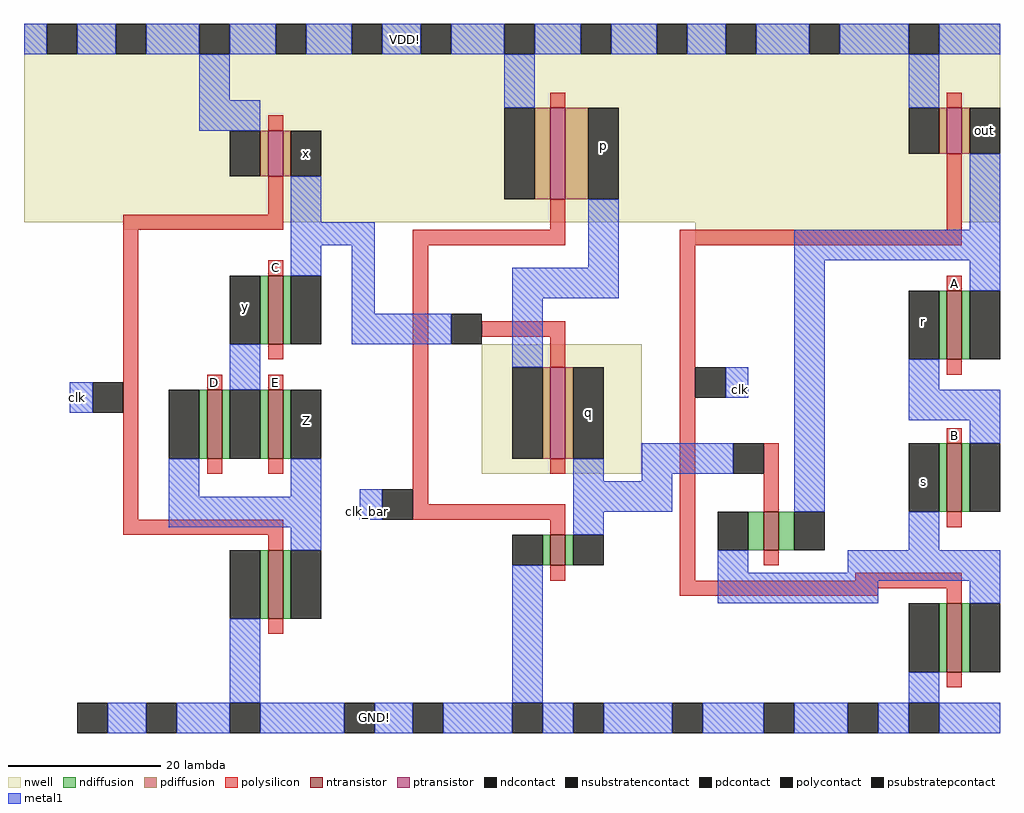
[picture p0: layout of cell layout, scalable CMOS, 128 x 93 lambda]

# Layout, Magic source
magic
tech scmos
<< nwell >>
rect -40 34 88 60
rect -27 33 -6 34
rect 48 31 83 34
rect 20 1 41 18
<< polysilicon >>
rect 29 49 31 51
rect 81 49 83 51
rect -8 46 -6 48
rect -8 35 -6 40
rect -27 33 -6 35
rect 29 33 31 37
rect 81 33 83 43
rect -27 -5 -25 33
rect 11 31 31 33
rect 46 31 83 33
rect -8 27 -6 29
rect -8 16 -6 18
rect -16 12 -14 14
rect -8 12 -6 14
rect -16 1 -14 3
rect -8 1 -6 3
rect 11 -3 13 31
rect 20 19 31 21
rect 29 15 31 19
rect 29 1 31 3
rect 11 -5 31 -3
rect -27 -7 -6 -5
rect 29 -7 31 -5
rect -8 -9 -6 -7
rect 29 -13 31 -11
rect 46 -13 48 31
rect 81 25 83 27
rect 81 14 83 16
rect 81 5 83 7
rect 57 -4 59 5
rect 81 -6 83 -4
rect 57 -11 59 -9
rect 69 -13 83 -12
rect 46 -14 83 -13
rect 46 -15 72 -14
rect 81 -16 83 -14
rect -8 -20 -6 -18
rect 81 -27 83 -25
<< ndiffusion >>
rect -9 18 -8 27
rect -6 18 -5 27
rect -17 3 -16 12
rect -14 3 -13 12
rect -9 3 -8 12
rect -6 3 -5 12
rect -9 -18 -8 -9
rect -6 -18 -5 -9
rect 28 -11 29 -7
rect 31 -11 32 -7
rect 80 16 81 25
rect 83 16 84 25
rect 80 -4 81 5
rect 83 -4 84 5
rect 55 -9 57 -4
rect 59 -9 61 -4
rect 80 -25 81 -16
rect 83 -25 84 -16
<< pdiffusion >>
rect -9 40 -8 46
rect -6 40 -5 46
rect 27 37 29 49
rect 31 37 34 49
rect 80 43 81 49
rect 83 43 84 49
rect 28 3 29 15
rect 31 3 32 15
<< metal1 >>
rect -40 56 -37 60
rect -33 56 -28 60
rect -24 56 -17 60
rect -13 56 -7 60
rect -3 56 3 60
rect 7 56 12 60
rect 16 56 23 60
rect 27 56 33 60
rect 37 56 43 60
rect 47 56 52 60
rect 56 56 63 60
rect 67 56 76 60
rect 80 56 88 60
rect -17 50 -13 56
rect -17 46 -9 50
rect 23 49 27 56
rect 76 49 80 56
rect -5 34 -1 40
rect -5 31 6 34
rect -5 27 -1 31
rect 3 22 6 31
rect 34 28 38 37
rect 84 33 88 43
rect 24 24 38 28
rect 61 29 88 33
rect 3 18 16 22
rect -34 9 -31 13
rect -13 12 -9 18
rect 24 15 28 24
rect 52 11 55 15
rect -21 -2 -17 3
rect -5 -2 -1 3
rect 32 0 36 3
rect 41 1 53 5
rect 41 0 45 1
rect -21 -6 -1 -2
rect 4 -5 7 -1
rect 32 -4 45 0
rect 61 -4 65 29
rect 84 25 88 29
rect 76 12 80 16
rect 76 8 88 12
rect 84 5 88 8
rect -5 -9 -1 -6
rect 32 -7 36 -4
rect 76 -9 80 -4
rect -13 -29 -9 -18
rect 24 -29 28 -11
rect 51 -12 55 -9
rect 68 -12 88 -9
rect 51 -13 88 -12
rect 51 -16 72 -13
rect 84 -16 88 -13
rect 76 -29 80 -25
rect -29 -33 -24 -29
rect -20 -33 -13 -29
rect -9 -33 2 -29
rect 6 -33 11 -29
rect 15 -33 24 -29
rect 28 -33 32 -29
rect 36 -33 45 -29
rect 49 -33 57 -29
rect 61 -33 68 -29
rect 72 -33 76 -29
rect 80 -33 88 -29
<< ntransistor >>
rect -8 18 -6 27
rect -16 3 -14 12
rect -8 3 -6 12
rect -8 -18 -6 -9
rect 29 -11 31 -7
rect 81 16 83 25
rect 81 -4 83 5
rect 57 -9 59 -4
rect 81 -25 83 -16
<< ptransistor >>
rect -8 40 -6 46
rect 29 37 31 49
rect 81 43 83 49
rect 29 3 31 15
<< polycontact >>
rect -31 9 -27 13
rect 7 -5 11 -1
rect 16 18 20 22
rect 48 11 52 15
rect 53 1 57 5
<< ndcontact >>
rect -13 18 -9 27
rect -5 18 -1 27
rect -21 3 -17 12
rect -13 3 -9 12
rect -5 3 -1 12
rect -13 -18 -9 -9
rect -5 -18 -1 -9
rect 24 -11 28 -7
rect 32 -11 36 -7
rect 76 16 80 25
rect 84 16 88 25
rect 76 -4 80 5
rect 84 -4 88 5
rect 51 -9 55 -4
rect 61 -9 65 -4
rect 76 -25 80 -16
rect 84 -25 88 -16
<< pdcontact >>
rect -13 40 -9 46
rect -5 40 -1 46
rect 23 37 27 49
rect 34 37 38 49
rect 76 43 80 49
rect 84 43 88 49
rect 24 3 28 15
rect 32 3 36 15
<< psubstratepcontact >>
rect -33 -33 -29 -29
rect -24 -33 -20 -29
rect -13 -33 -9 -29
rect 2 -33 6 -29
rect 11 -33 15 -29
rect 24 -33 28 -29
rect 32 -33 36 -29
rect 45 -33 49 -29
rect 57 -33 61 -29
rect 68 -33 72 -29
rect 76 -33 80 -29
<< nsubstratencontact >>
rect -37 56 -33 60
rect -28 56 -24 60
rect -17 56 -13 60
rect -7 56 -3 60
rect 3 56 7 60
rect 12 56 16 60
rect 23 56 27 60
rect 33 56 37 60
rect 43 56 47 60
rect 52 56 56 60
rect 63 56 67 60
rect 76 56 80 60
<< labels >>
rlabel metal1 10 58 10 58 1 VDD!
rlabel polysilicon 82 26 82 26 1 A
rlabel metal1 5 -4 5 -4 1 clk_bar
rlabel metal1 6 -31 6 -31 1 GND!
rlabel polysilicon 82 6 82 6 1 B
rlabel polysilicon -15 13 -15 13 1 D
rlabel polysilicon -7 13 -7 13 1 E
rlabel polysilicon -7 28 -7 28 1 C
rlabel metal1 -33 11 -33 11 3 clk
rlabel metal1 54 12 54 12 1 clk
rlabel pdcontact -3 43 -3 43 1 x
rlabel ndcontact -11 23 -11 23 1 y
rlabel ndcontact -3 8 -3 8 1 Z
rlabel pdcontact 36 44 36 44 1 p
rlabel pdcontact 34 9 34 9 1 q
rlabel pdcontact 86 46 86 46 7 out
rlabel ndcontact 78 21 78 21 1 r
rlabel ndcontact 78 0 78 0 1 s
<< end >>
